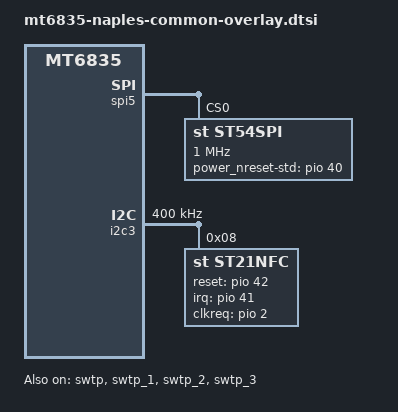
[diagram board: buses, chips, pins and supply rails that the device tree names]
/* Copyright (c) 2023, Motorola Mobility Inc. All rights reserved.
 *
 * This program is free software; you can redistribute it and/or modify
 * it under the terms of the GNU General Public License version 2 and
 * only version 2 as published by the Free Software Foundation.
 *
 * This program is distributed in the hope that it will be useful,
 * but WITHOUT ANY WARRANTY; without even the implied warranty of
 * MERCHANTABILITY or FITNESS FOR A PARTICULAR PURPOSE.  See the
 * GNU General Public License for more details.
 */

#include "mediatek/mt6835-moto-common-overlay.dtsi"
#include "mediatek/naples-display.dtsi"
#include "mediatek/naples-touch.dtsi"
#include "mediatek/naples-fps.dtsi"
#include "mediatek/mt6835-moto-memory.dtsi"
#include "mediatek/naples-sensor.dtsi"
#include "mediatek/naples-msdc.dtsi"
#include "mediatek/naples-audio.dtsi"
#include "mediatek/naples-fmr.dtsi"
#include "mediatek/naples-ntc.dtsi"
#include "mediatek/dio80151c.dtsi"
#include "mediatek/dio8015.dtsi"
//#include "mediatek/mt6835_kansas_camera_overlay.dtsi"
/ {

irq_nfc: irq_nfc {
                compatible = "mediatek,irq_nfc-eint";
};

switch_chg_eint: switch_chg_eint {
	};
tcpc_pd: tcpc_pd {
	};
eint_cp: eint_cp {
	};
};

&mt6377keys {
	home {
		linux,keycodes = <114>;
	};
};

&pio {
	nfc_spi_cs_mode_spi: nfc_spi_cs_mode_spi {
		pins_cmd_dat {
			pinmux = <PINMUX_GPIO37__FUNC_SPI5_CSB>;
			bias-disable;
		};
	};

	nfc_spi_cs_mode_idle: nfc_spi_cs_mode_idle {
		pins_cmd_dat {
			pinmux = <PINMUX_GPIO37__FUNC_GPIO37>;
			bias-disable;
		};
	};
};

&spi5 {
	st54spi: st54spi@0 {
		compatible = "st,st54spi";
		reg = <0>;
		spi-max-frequency = <1000000>;
		gpio-power_nreset = <40>;
		gpio-power_nreset-std = <&pio 40 0x00>;
		power_mode = "ST54J";
		bootmode = <&chosen>;
		pinctrl-names = "pinctrl_state_mode_spi",
				"pinctrl_state_mode_idle";
		pinctrl-0 = <&nfc_spi_cs_mode_spi>;
		pinctrl-1 = <&nfc_spi_cs_mode_idle>;
		status = "okay";
	};
};

&i2c3 {
	status = "okay";
	clock-frequency = <400000>;
	st21nfc: st21nfc@0x08 {
		compatible = "st,st21nfc";
		reg = <0x08>;
		interrupt-parent = <&pio>;
		interrupts = <41 IRQ_TYPE_LEVEL_HIGH>;
		bootmode = <&chosen>;
		reset-gpios = <&pio 42 0x00>;
		irq-gpios = <&pio 41 0x00>;
		clkreq-gpios = <&pio 2 0x00>;
		status = "okay";
	};
};

&u2port0 {
	mediatek,eye-vrt = <6>;
	mediatek,eye-vrt-host = <6>;
};

&swtp {
	interrupt-parent = <&pio>;
	interrupts = <6 IRQ_TYPE_LEVEL_HIGH 6 0>;
	deb-gpios = <&pio 6 0>;
	debounce = <512>;
	status = "okay";
};

&swtp_1 {
	interrupt-parent = <&pio>;
	interrupts = <11 IRQ_TYPE_LEVEL_HIGH 11 0>;
	deb-gpios = <&pio 11 0>;
	debounce = <512>;
	status = "okay";
};
&swtp_2 {
	interrupt-parent = <&pio>;
	interrupts = <19 IRQ_TYPE_LEVEL_HIGH 19 0>;
	deb-gpios = <&pio 19 0>;
	debounce = <512>;
	status = "okay";
};
&swtp_3 {
        interrupt-parent = <&pio>;
        interrupts = <20 IRQ_TYPE_LEVEL_HIGH 20 0>;
        deb-gpios = <&pio 20 0>;
        debounce = <512>;
        status = "okay";
};

&therm_intf {
 	/*Vsensor name should be CASE DIFFERENT with the name in config file*/
 	mmi,temperature-names = "BACK_TEMP", "FRONT_TEMP", "SAFETY_TEMP";/*for "back_temp" in config file*/
};

&regulator_vibrator {
	min-volt = <3000000>;
};
